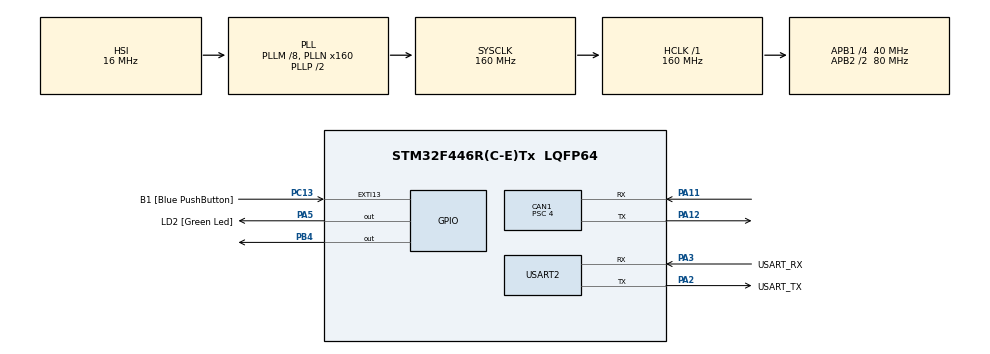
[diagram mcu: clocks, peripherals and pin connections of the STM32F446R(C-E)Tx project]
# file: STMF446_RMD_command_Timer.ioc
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CAN1.BS1=CAN_BS1_7TQ
CAN1.BS2=CAN_BS2_2TQ
CAN1.CalculateBaudRate=1000000
CAN1.CalculateTimeBit=1000
CAN1.CalculateTimeQuantum=100.0
CAN1.NART=ENABLE
CAN1.Prescaler=4
Mcu.Family=STM32F4
Mcu.Name=STM32F446R(C-E)Tx
Mcu.Package=LQFP64
NVIC.CAN1_RX0_IRQn=true\:0\:0\:true\:false\:true\:true\:true\:true
NVIC.CAN1_TX_IRQn=true\:0\:0\:true\:false\:true\:true\:true\:true
NVIC.PriorityGroup=NVIC_PRIORITYGROUP_4
NVIC.TIM2_IRQn=true\:1\:0\:true\:false\:true\:true\:true\:true
NVIC.TIM3_IRQn=true\:1\:0\:true\:false\:true\:true\:true\:true
NVIC.USART2_IRQn=true\:0\:0\:false\:false\:true\:true\:true\:true
PA11.Mode=CAN_Activate
PA11.Signal=CAN1_RX
PA12.GPIO_PuPd=GPIO_PULLUP
PA12.Mode=CAN_Activate
PA12.Signal=CAN1_TX
PA13.GPIO_Label=TMS
PA13.Mode=Serial_Wire
PA13.Signal=SYS_JTMS-SWDIO
PA14.GPIO_Label=TCK
PA14.Mode=Serial_Wire
PA14.Signal=SYS_JTCK-SWCLK
PA2.GPIO_Label=USART_TX
PA2.Mode=Asynchronous
PA2.Signal=USART2_TX
PA3.GPIO_Label=USART_RX
PA3.Mode=Asynchronous
PA3.Signal=USART2_RX
PA5.GPIO_Label=LD2 [Green Led]
PA5.Signal=GPIO_Output
PB3.GPIO_Label=SWO
PB3.Signal=SYS_JTDO-SWO
PB4.Signal=GPIO_Output
PC13.GPIO_Label=B1 [Blue PushButton]
PC13.GPIO_ModeDefaultEXTI=GPIO_MODE_IT_FALLING
PC13.Signal=GPXTI13
PC14-OSC32_IN.Mode=LSE-External-Oscillator
PC14-OSC32_IN.Signal=RCC_OSC32_IN
PC15-OSC32_OUT.Mode=LSE-External-Oscillator
PC15-OSC32_OUT.Signal=RCC_OSC32_OUT
PH0-OSC_IN.Mode=HSE-External-Oscillator
PH0-OSC_IN.Signal=RCC_OSC_IN
PH1-OSC_OUT.Mode=HSE-External-Oscillator
PH1-OSC_OUT.Signal=RCC_OSC_OUT
ProjectManager.HeapSize=0x200
ProjectManager.StackSize=0x400
ProjectManager.TargetToolchain=STM32CubeIDE
RCC.48MHZClocksFreq_Value=84000000
RCC.AHBFreq_Value=160000000
RCC.APB1CLKDivider=RCC_HCLK_DIV4
RCC.APB1Freq_Value=40000000
RCC.APB1TimFreq_Value=80000000
RCC.APB2CLKDivider=RCC_HCLK_DIV2
RCC.APB2Freq_Value=80000000
RCC.APB2TimFreq_Value=160000000
RCC.CortexFreq_Value=160000000
RCC.FLatency-AdvancedSettings=FLASH_LATENCY_5
RCC.HCLKFreq_Value=160000000
RCC.HSE_VALUE=8000000
RCC.HSI_VALUE=16000000
RCC.PLLM=8
RCC.PLLN=160
RCC.SYSCLKFreq_VALUE=160000000
RCC.SYSCLKSource=RCC_SYSCLKSOURCE_PLLCLK
RCC.USBFreq_Value=160000000
RCC.VCOOutputFreq_Value=320000000
TIM2.AutoReloadPreload=TIM_AUTORELOAD_PRELOAD_ENABLE
TIM2.Period=2000-1
TIM2.Prescaler=8000-1
TIM3.AutoReloadPreload=TIM_AUTORELOAD_PRELOAD_ENABLE
TIM3.Period=200-1
TIM3.Prescaler=8000-1
USART2.VirtualMode=VM_ASYNC
VP_TIM2_VS_ClockSourceINT.Mode=Internal
VP_TIM3_VS_ClockSourceINT.Mode=Internal
board=NUCLEO-F446RE

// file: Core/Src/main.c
/* USER CODE BEGIN Header */
/**
  ******************************************************************************
  * @file           : main.c
  * @brief          : Main program body
  ******************************************************************************
  * @attention
  *
  * Copyright (c) 2022 STMicroelectronics.
  * All rights reserved.
  *
  * This software is licensed under terms that can be found in the LICENSE file
  * in the root directory of this software component.
  * If no LICENSE file comes with this software, it is provided AS-IS.
  *
  ******************************************************************************
  */
/* USER CODE END Header */
#include "main.h"

/* USER CODE BEGIN Includes */
#include<stdio.h>
#include <math.h>
#include<string.h>
#include<stdlib.h>
/* USER CODE END Includes */

/* USER CODE BEGIN PTD */
typedef struct rmd_motor{
	uint32_t can_id; //motor can id
	int position; //motor angle
	int target_position; //target motor angle
	int max_velocity;
	int offset;
	int zero;
	int a1;
	int a2;
	int z;
	int rotate;
	int encoder_val;
	float firstpos;
	float rmdtilt;
	uint8_t state;
	uint8_t motion_state;
	uint8_t offset_state;
	uint8_t PID_state;
	uint8_t poweron_state;
	uint8_t poweroff_state;
	uint8_t encoder_state;
	uint8_t txcan_data[8];
	uint16_t reply;
	uint16_t current_val;
	uint16_t comparison;
	uint16_t target_val;
	uint8_t end_state;
	uint8_t temperature;
	uint8_t temp_error;
	uint8_t rmd_send;
}RMD_Motor;

typedef struct robot_arm{

	RMD_Motor rmd_axis;	//RMD
	//各モータの送信角度を目標角度と最大角度から計算して送信する
	void (*SendAll)(struct robot_arm*);

}RobotArm;
/* USER CODE END PTD */

CAN_HandleTypeDef hcan1;

TIM_HandleTypeDef htim2;
TIM_HandleTypeDef htim3;

UART_HandleTypeDef huart2;

/* USER CODE BEGIN PV */
CAN_FilterTypeDef sFilterConfig;
CAN_TxHeaderTypeDef TxHeader;
CAN_RxHeaderTypeDef RxHeader;
uint8_t TxData[8];
uint8_t RxData[8];
uint8_t canRxdata[8];
uint8_t RMDRx_can_data[8];
uint8_t RMDTx_can_data[8];
uint32_t TxMailbox;
uint8_t KeyCommand[1];
uint8_t uart_data;
uint8_t get_uart_flag=0;
uint8_t RMD_data[8];
uint8_t nextcan_flag;

RobotArm ra;

/* USER CODE END PV */

void SystemClock_Config(void);
static void MX_GPIO_Init(void);
static void MX_USART2_UART_Init(void);
static void MX_CAN1_Init(void);
static void MX_TIM2_Init(void);
static void MX_TIM3_Init(void);
/* USER CODE BEGIN PFP */
void SendAll(RobotArm* robot_arm);
void RMD_CANTx(RMD_Motor* rmd);
/* USER CODE END PFP */

/* USER CODE BEGIN 0 */
void RMD_calculatuin(RobotArm* robot_arm, uint8_t whitch_rmd){
	robot_arm->rmd_axis.state = 1;
	robot_arm->rmd_axis.end_state = 0;
	robot_arm->rmd_axis.rmd_send = 0;
	if(whitch_rmd==0){
		robot_arm->rmd_axis.can_id = 0x141;
//		robot_arm->rmd_axis.target_position = robot_arm->rmd_axis.zero+(-90*100) + robot_arm->rmd_axis.target_position;	//垂直から90deg引いた値、水平を0degとしてそこから入力された角度だけRMDを回転させる
	}else if(whitch_rmd==1){
		robot_arm->rmd_axis.can_id = 0x142;
	}
	memset(robot_arm->rmd_axis.txcan_data, 0, sizeof(robot_arm->rmd_axis.txcan_data));
	if(robot_arm->rmd_axis.motion_state==1){	//RMDを回すステート
		robot_arm->rmd_axis.txcan_data[0] = 0xA4;
		robot_arm->rmd_axis.txcan_data[2] = 0xC8;	//speed low
		robot_arm->rmd_axis.txcan_data[3] = 0x00;
		robot_arm->rmd_axis.txcan_data[4] =(robot_arm->rmd_axis.target_position&0xFF);	//poslow
		robot_arm->rmd_axis.txcan_data[5] =(robot_arm->rmd_axis.target_position>>8)&0xFF;
		robot_arm->rmd_axis.motion_state=0;
	}else if(robot_arm->rmd_axis.PID_state==1){
		robot_arm->rmd_axis.txcan_data[0] = 0x32;	//PI設定
		robot_arm->rmd_axis.txcan_data[2] = 0x64;	//anglePidKp 64
		robot_arm->rmd_axis.txcan_data[3] = 0xC8;	//anglePidKi C8
		robot_arm->rmd_axis.txcan_data[4] = 0x64;	//speedPidKp 64
		robot_arm->rmd_axis.txcan_data[5] = 0x14;	//speedPidKi 14
		robot_arm->rmd_axis.txcan_data[6] = 0x50;	//iqPidKp 50
		robot_arm->rmd_axis.txcan_data[7] = 0x1E;	//iqPidKi 1E
		robot_arm->rmd_axis.PID_state=0;
	}else if(robot_arm->rmd_axis.offset_state==1){
		robot_arm->rmd_axis.txcan_data[0] = 0x91;
		robot_arm->rmd_axis.txcan_data[6] = robot_arm->rmd_axis.offset&0xFF;	//position_offset
		robot_arm->rmd_axis.txcan_data[7] = robot_arm->rmd_axis.offset>>8;
		robot_arm->rmd_axis.offset_state=0;
	}else if(robot_arm->rmd_axis.poweron_state==1){
		robot_arm->rmd_axis.txcan_data[0] = 0x88;
		robot_arm->rmd_axis.poweron_state=0;
	}else if(robot_arm->rmd_axis.poweroff_state==1){
		robot_arm->rmd_axis.txcan_data[0] = 0x80;
		robot_arm->rmd_axis.poweroff_state = 0;
	}else if(robot_arm->rmd_axis.encoder_state==1){
		robot_arm->rmd_axis.txcan_data[0] = 0x90;
		robot_arm->rmd_axis.encoder_state = 0;
	}
}
void SendAll(RobotArm* robot_arm)
{
	if(robot_arm->rmd_axis.state==1){	//RMDの動作
		TxHeader.StdId=0x141;
		TxHeader.IDE = CAN_ID_STD;
		TxHeader.DLC = 0x08;
		TxHeader.RTR = CAN_RTR_DATA;
		TxHeader.TransmitGlobalTime = DISABLE;
//	while(HAL_CAN_GetTxMailboxesFreeLevel(&hcan1)<3){}
		if(HAL_CAN_GetTxMailboxesFreeLevel(&hcan1)!=0){
			HAL_CAN_AddTxMessage(&hcan1,&TxHeader,robot_arm->rmd_axis.txcan_data,&TxMailbox);
			robot_arm->rmd_axis.rmd_send = 1;
		}else{
			HAL_CAN_Stop (&hcan1);
			HAL_CAN_Start (&hcan1);
//		HAL_CAN_AddTxMessage(&hcan1,&TxHeader,rmd->txcan_data,&TxMailbox);
		}
		HAL_Delay(10);
		robot_arm->rmd_axis.state=0;
	}
}
int count = 0;
void RMD_check(RobotArm* robot_arm){
	if(robot_arm->rmd_axis.rmd_send==1){
		if(robot_arm->rmd_axis.txcan_data[0]==0xA4){
			count++;
			printf("Count : %d\r\n",count);
			robot_arm->rmd_axis.reply=((RMDRx_can_data[6] & 0xFF)|((RMDRx_can_data[7] & 0xFF) << 8));
			robot_arm->rmd_axis.temperature = RMDRx_can_data[1] & 0xFF;
			if(robot_arm->rmd_axis.can_id == 0x141){
				robot_arm->rmd_axis.z = robot_arm->rmd_axis.target_position;
				robot_arm->rmd_axis.rotate = (int)(robot_arm->rmd_axis.z/36000);
				robot_arm->rmd_axis.encoder_val = (int)round((robot_arm->rmd_axis.z - 36000 * robot_arm->rmd_axis.rotate) * 65535.0/36000.0);	//角度をエンコーダー値に変換
			}
//			else if(robot_arm->rmd_axis.can_id == 0x142){
//				robot_arm->rmd_axis.rotate = robot_arm->rmd_axis.z/36000;
//				robot_arm->rmd_axis.encoder_val = (int)round((robot_arm->rmd_axis.z - 36000 * robot_arm->rmd_axis.rotate) * 65535.0/36000.0);
//			}
			printf("current_val : %d\r\n",robot_arm->rmd_axis.current_val);
			printf("encoder_val : %d\r\n",robot_arm->rmd_axis.encoder_val);
			printf("reply : %d\r\n",robot_arm->rmd_axis.reply);

			if(abs(robot_arm->rmd_axis.current_val-robot_arm->rmd_axis.encoder_val>100)){	//現在地と目標値の差が閾値よりも大きければ目標値にはいない
				printf("Sending...\r\n");
				if(abs(robot_arm->rmd_axis.current_val-robot_arm->rmd_axis.reply)>100){
					robot_arm->rmd_axis.state = 0;
					printf("SendComplete!\r\n");
				}else if(count > 10){
					printf("Error! : %d\r\n",count);
					robot_arm->rmd_axis.state = 0;
				}
			}else{
				printf("Same Position!\r\n");
				robot_arm->rmd_axis.state=0;
			}
			if(robot_arm->rmd_axis.state==0){
				count = 0;
			}
		}else{
			robot_arm->rmd_axis.state=0;
			count = 0;
		}
		robot_arm->rmd_axis.rmd_send = 0;
	}
}
void HAL_TIM_PeriodElapsedCallback(TIM_HandleTypeDef *htim)
{
	RobotArm *robot_arm= &ra;
    if (htim == &htim2){
    	SendAll(robot_arm);
    }
//    else if (htim == &htim3){
//    	RMD_check(robot_arm);
//    }
}
/* USER CODE END 0 */

int main(void)
{
  /* USER CODE BEGIN 1 */
	setbuf(stdout, NULL);
  /* USER CODE END 1 */

  /* MCU Configuration--------------------------------------------------------*/

  /* Reset of all peripherals, Initializes the Flash interface and the Systick. */
  HAL_Init();

  /* Configure the system clock */
  SystemClock_Config();

  /* Initialize all configured peripherals */
  MX_GPIO_Init();
  MX_USART2_UART_Init();
  MX_CAN1_Init();
  MX_TIM2_Init();
  MX_TIM3_Init();
  /* USER CODE BEGIN 2 */
  sFilterConfig.FilterBank = 0;
  sFilterConfig.FilterMode = CAN_FILTERMODE_IDMASK;
  sFilterConfig.FilterScale = CAN_FILTERSCALE_32BIT;
  sFilterConfig.FilterIdHigh = 0x0000;
  sFilterConfig.FilterIdLow = 0x0000;
  sFilterConfig.FilterMaskIdHigh = 0x0000;
  sFilterConfig.FilterMaskIdLow = 0x0000;
  sFilterConfig.FilterFIFOAssignment = CAN_RX_FIFO0;
  sFilterConfig.FilterActivation=ENABLE;
  sFilterConfig.SlaveStartFilterBank=14;
  if(HAL_CAN_ConfigFilter(&hcan1,&sFilterConfig) != HAL_OK)
  {
	  Error_Handler();
  }
  if(HAL_CAN_Start(&hcan1)!=HAL_OK)
  {
	  Error_Handler();
  }

  if(HAL_CAN_ActivateNotification(&hcan1,CAN_IT_RX_FIFO0_MSG_PENDING | CAN_IT_TX_MAILBOX_EMPTY) != HAL_OK)
  {
	  Error_Handler();
  }
  HAL_TIM_Base_Start_IT(&htim2);
//  HAL_TIM_Base_Start_IT(&htim3);
  HAL_UART_Receive_IT(&huart2, (uint8_t *)KeyCommand, 1);
  printf("InIt end\r\n");
  RobotArm *robot_arm = &ra;

  /* USER CODE END 2 */

  /* Infinite loop */
  /* USER CODE BEGIN WHILE */
  while (1)
  {
	  get_uart_flag=0;
	  //受信するまで待つ
	  printf("waiting...\r\n");
	  while(!get_uart_flag){}
	  printf("waitiUARTflag\r\n");
	  if(KeyCommand[0]!=0 ){
		  switch(KeyCommand[0]){
		  case'a':
			  printf("case:a\r\n");
			  robot_arm->rmd_axis.encoder_state=1;
			  RMD_calculatuin(robot_arm,0);
//			  HAL_Delay(10);
			  robot_arm->rmd_axis.motion_state=1;
			  robot_arm->rmd_axis.target_position = 40000;
			  RMD_calculatuin(robot_arm,0);
			  break;

		  case'd':
			  printf("case:d\r\n");
			  robot_arm->rmd_axis.encoder_state=1;
			  RMD_calculatuin(robot_arm,0);
//			  HAL_Delay(10);
			  robot_arm->rmd_axis.motion_state=1;
			  robot_arm->rmd_axis.target_position = 0;
			  RMD_calculatuin(robot_arm,0);
			  break;
		  case's':
			  printf("case:s\r\n");
			  robot_arm->rmd_axis.encoder_state=1;
			  RMD_calculatuin(robot_arm,0);
			  break;

		  default:
			  KeyCommand[0]=0;
			  printf("No,command\r\n");
			  break;
		  }
		  KeyCommand[0]=0;
	  }
//	  while(!nextcan_flag){}

    /* USER CODE END WHILE */

  }
}

void SystemClock_Config(void)
{
  RCC_OscInitTypeDef RCC_OscInitStruct = {0};
  RCC_ClkInitTypeDef RCC_ClkInitStruct = {0};

  /** Configure the main internal regulator output voltage
  */
  __HAL_RCC_PWR_CLK_ENABLE();
  __HAL_PWR_VOLTAGESCALING_CONFIG(PWR_REGULATOR_VOLTAGE_SCALE1);

  /** Initializes the RCC Oscillators according to the specified parameters
  * in the RCC_OscInitTypeDef structure.
  */
  RCC_OscInitStruct.OscillatorType = RCC_OSCILLATORTYPE_HSI;
  RCC_OscInitStruct.HSIState = RCC_HSI_ON;
  RCC_OscInitStruct.HSICalibrationValue = RCC_HSICALIBRATION_DEFAULT;
  RCC_OscInitStruct.PLL.PLLState = RCC_PLL_ON;
  RCC_OscInitStruct.PLL.PLLSource = RCC_PLLSOURCE_HSI;
  RCC_OscInitStruct.PLL.PLLM = 8;
  RCC_OscInitStruct.PLL.PLLN = 160;
  RCC_OscInitStruct.PLL.PLLP = RCC_PLLP_DIV2;
  RCC_OscInitStruct.PLL.PLLQ = 2;
  RCC_OscInitStruct.PLL.PLLR = 2;
  if (HAL_RCC_OscConfig(&RCC_OscInitStruct) != HAL_OK)
  {
    Error_Handler();
  }

  /** Initializes the CPU, AHB and APB buses clocks
  */
  RCC_ClkInitStruct.ClockType = RCC_CLOCKTYPE_HCLK|RCC_CLOCKTYPE_SYSCLK
                              |RCC_CLOCKTYPE_PCLK1|RCC_CLOCKTYPE_PCLK2;
  RCC_ClkInitStruct.SYSCLKSource = RCC_SYSCLKSOURCE_PLLCLK;
  RCC_ClkInitStruct.AHBCLKDivider = RCC_SYSCLK_DIV1;
  RCC_ClkInitStruct.APB1CLKDivider = RCC_HCLK_DIV4;
  RCC_ClkInitStruct.APB2CLKDivider = RCC_HCLK_DIV2;

  if (HAL_RCC_ClockConfig(&RCC_ClkInitStruct, FLASH_LATENCY_5) != HAL_OK)
  {
    Error_Handler();
  }
}

static void MX_CAN1_Init(void)
{

  hcan1.Instance = CAN1;
  hcan1.Init.Prescaler = 4;
  hcan1.Init.Mode = CAN_MODE_NORMAL;
  hcan1.Init.SyncJumpWidth = CAN_SJW_1TQ;
  hcan1.Init.TimeSeg1 = CAN_BS1_7TQ;
  hcan1.Init.TimeSeg2 = CAN_BS2_2TQ;
  hcan1.Init.TimeTriggeredMode = DISABLE;
  hcan1.Init.AutoBusOff = DISABLE;
  hcan1.Init.AutoWakeUp = DISABLE;
  hcan1.Init.AutoRetransmission = ENABLE;
  hcan1.Init.ReceiveFifoLocked = DISABLE;
  hcan1.Init.TransmitFifoPriority = DISABLE;
  if (HAL_CAN_Init(&hcan1) != HAL_OK)
  {
    Error_Handler();
  }

}

static void MX_TIM2_Init(void)
{

  TIM_ClockConfigTypeDef sClockSourceConfig = {0};
  TIM_MasterConfigTypeDef sMasterConfig = {0};

  htim2.Instance = TIM2;
  htim2.Init.Prescaler = 8000-1;
  htim2.Init.CounterMode = TIM_COUNTERMODE_UP;
  htim2.Init.Period = 2000-1;
  htim2.Init.ClockDivision = TIM_CLOCKDIVISION_DIV1;
  htim2.Init.AutoReloadPreload = TIM_AUTORELOAD_PRELOAD_ENABLE;
  if (HAL_TIM_Base_Init(&htim2) != HAL_OK)
  {
    Error_Handler();
  }
  sClockSourceConfig.ClockSource = TIM_CLOCKSOURCE_INTERNAL;
  if (HAL_TIM_ConfigClockSource(&htim2, &sClockSourceConfig) != HAL_OK)
  {
    Error_Handler();
  }
  sMasterConfig.MasterOutputTrigger = TIM_TRGO_RESET;
  sMasterConfig.MasterSlaveMode = TIM_MASTERSLAVEMODE_DISABLE;
  if (HAL_TIMEx_MasterConfigSynchronization(&htim2, &sMasterConfig) != HAL_OK)
  {
    Error_Handler();
  }

}

static void MX_TIM3_Init(void)
{

  TIM_ClockConfigTypeDef sClockSourceConfig = {0};
  TIM_MasterConfigTypeDef sMasterConfig = {0};

  htim3.Instance = TIM3;
  htim3.Init.Prescaler = 8000-1;
  htim3.Init.CounterMode = TIM_COUNTERMODE_UP;
  htim3.Init.Period = 200-1;
  htim3.Init.ClockDivision = TIM_CLOCKDIVISION_DIV1;
  htim3.Init.AutoReloadPreload = TIM_AUTORELOAD_PRELOAD_ENABLE;
  if (HAL_TIM_Base_Init(&htim3) != HAL_OK)
  {
    Error_Handler();
  }
  sClockSourceConfig.ClockSource = TIM_CLOCKSOURCE_INTERNAL;
  if (HAL_TIM_ConfigClockSource(&htim3, &sClockSourceConfig) != HAL_OK)
  {
    Error_Handler();
  }
  sMasterConfig.MasterOutputTrigger = TIM_TRGO_RESET;
  sMasterConfig.MasterSlaveMode = TIM_MASTERSLAVEMODE_DISABLE;
  if (HAL_TIMEx_MasterConfigSynchronization(&htim3, &sMasterConfig) != HAL_OK)
  {
    Error_Handler();
  }

}

static void MX_USART2_UART_Init(void)
{

  huart2.Instance = USART2;
  huart2.Init.BaudRate = 115200;
  huart2.Init.WordLength = UART_WORDLENGTH_8B;
  huart2.Init.StopBits = UART_STOPBITS_1;
  huart2.Init.Parity = UART_PARITY_NONE;
  huart2.Init.Mode = UART_MODE_TX_RX;
  huart2.Init.HwFlowCtl = UART_HWCONTROL_NONE;
  huart2.Init.OverSampling = UART_OVERSAMPLING_16;
  if (HAL_UART_Init(&huart2) != HAL_OK)
  {
    Error_Handler();
  }

}

static void MX_GPIO_Init(void)
{
  GPIO_InitTypeDef GPIO_InitStruct = {0};

  /* GPIO Ports Clock Enable */
  __HAL_RCC_GPIOC_CLK_ENABLE();
  __HAL_RCC_GPIOH_CLK_ENABLE();
  __HAL_RCC_GPIOA_CLK_ENABLE();
  __HAL_RCC_GPIOB_CLK_ENABLE();

  /*Configure GPIO pin Output Level */
  HAL_GPIO_WritePin(LD2_GPIO_Port, LD2_Pin, GPIO_PIN_RESET);

  /*Configure GPIO pin Output Level */
  HAL_GPIO_WritePin(GPIOB, GPIO_PIN_4, GPIO_PIN_RESET);

  /*Configure GPIO pin : B1_Pin */
  GPIO_InitStruct.Pin = B1_Pin;
  GPIO_InitStruct.Mode = GPIO_MODE_IT_FALLING;
  GPIO_InitStruct.Pull = GPIO_NOPULL;
  HAL_GPIO_Init(B1_GPIO_Port, &GPIO_InitStruct);

  /*Configure GPIO pin : LD2_Pin */
  GPIO_InitStruct.Pin = LD2_Pin;
  GPIO_InitStruct.Mode = GPIO_MODE_OUTPUT_PP;
  GPIO_InitStruct.Pull = GPIO_NOPULL;
  GPIO_InitStruct.Speed = GPIO_SPEED_FREQ_LOW;
  HAL_GPIO_Init(LD2_GPIO_Port, &GPIO_InitStruct);

  /*Configure GPIO pin : PB4 */
  GPIO_InitStruct.Pin = GPIO_PIN_4;
  GPIO_InitStruct.Mode = GPIO_MODE_OUTPUT_PP;
  GPIO_InitStruct.Pull = GPIO_NOPULL;
  GPIO_InitStruct.Speed = GPIO_SPEED_FREQ_LOW;
  HAL_GPIO_Init(GPIOB, &GPIO_InitStruct);

}

/* USER CODE BEGIN 4 */
int _write(int file, char *ptr, int len)	//printfに必要
{
  HAL_UART_Transmit(&huart2,(uint8_t *)ptr,len,10);
  return len;
}
void HAL_UART_RxCpltCallback(UART_HandleTypeDef*UartHandle)
{

//	HAL_UART_Transmit(&huart2,UART1_Data,1,1000);	//1byte受け取ったら次へ
	get_uart_flag=1;
	HAL_UART_Receive_IT(&huart2, (uint8_t *)KeyCommand, 1);

}
void HAL_CAN_TxMailbox0CompleteCallack(CAN_HandleTypeDef *hcan)
{
//	  HAL_GPIO_WritePin(GPIOA,GPIO_PIN_5,1);
}

void HAL_CAN_RxFifo0MsgPendingCallback(CAN_HandleTypeDef *hcan_)
{
	HAL_CAN_GetRxMessage(&hcan1,CAN_RX_FIFO0, &RxHeader, canRxdata);
	 RobotArm *robot_arm = &ra;
	if(RxHeader.StdId==0x141){
		memcpy(RMDRx_can_data, canRxdata, 8);
		if(RMDRx_can_data[0]==0xA4){
			printf("Count : %d\r\n",count);
			robot_arm->rmd_axis.reply=((RMDRx_can_data[6] & 0xFF)|((RMDRx_can_data[7] & 0xFF) << 8));	//エンコーダデータ更新
			robot_arm->rmd_axis.temperature = RMDRx_can_data[1] & 0xFF;
		}else if(RMDRx_can_data[0]==0x90){
			robot_arm->rmd_axis.current_val = (RMDRx_can_data[2]) | ((RMDRx_can_data[3])<<8);
		}
	}
}

/* USER CODE END 4 */

void Error_Handler(void)
{
  /* USER CODE BEGIN Error_Handler_Debug */
  /* User can add his own implementation to report the HAL error return state */
  __disable_irq();
  printf("error\r\n");
  while (1)
  {
  }
  /* USER CODE END Error_Handler_Debug */
}
